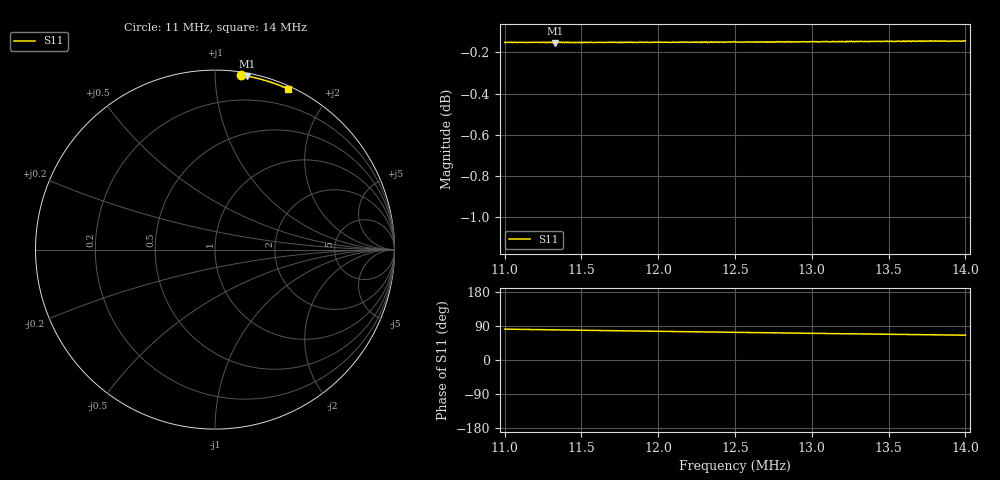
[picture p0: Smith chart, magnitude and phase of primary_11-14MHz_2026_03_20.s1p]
# HZ S RI R 50
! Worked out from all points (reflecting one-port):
!   401 points, 11 MHz to 14 MHz, reference 50 ohm
!   lowest |S11| = -0.2 dB at 11.33 MHz (marker M1), VSWR 113.23, Z = 1.08 + j60.1 ohm
!   phase of S11 starts at 81 deg and turns -16 deg over the sweep
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1.1e7  0.1457 0.9719
1.10225e7  0.1477 0.9715
1.112e7  0.1583 0.9701
1.12025e7  0.1659 0.9687
1.133e7  0.1789 0.9661
1.1375e7  0.1831 0.9654
1.15325e7  0.1987 0.9627
1.163e7  0.2075 0.9606
1.175e7  0.2193 0.9582
1.18325e7  0.2267 0.9561
1.193e7  0.2362 0.9541
1.20425e7  0.2461 0.9516
1.2125e7  0.2541 0.9493
1.22375e7  0.264 0.947
1.23425e7  0.2737 0.9443
1.244e7  0.2817 0.9416
1.25e7  0.2871 0.9401
1.2725e7  0.3069 0.934
1.2875e7  0.3195 0.9298
1.313e7  0.3409 0.922
1.325e7  0.3501 0.9187
1.33475e7  0.3585 0.9157
1.3445e7  0.3656 0.9129
1.3625e7  0.3799 0.9073
1.379e7  0.393 0.9017
1.38875e7  0.3998 0.8985
1.3985e7  0.4075 0.895
1.4e7  0.4085 0.8946
